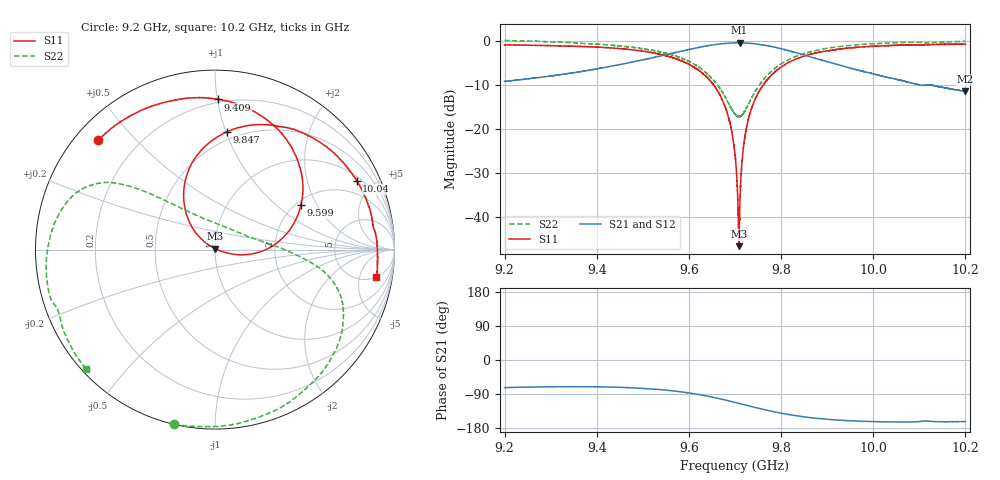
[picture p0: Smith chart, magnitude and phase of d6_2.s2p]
!Agilent Technologies,N5242A,MY51221714,A.09.90.19
!Agilent N5242A: A.09.90.19
!Date: Tuesday, March 26, 2024 16:18:59
!Correction: S11(Full 2 Port(1,2))
!S21(Full 2 Port(1,2))
!S12(Full 2 Port(1,2))
!S22(Full 2 Port(1,2))
!S2P File: Measurements: S11, S21, S12, S22:
# Hz S  dB  R 50
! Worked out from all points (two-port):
!   16001 points, 9.2 GHz to 10.2 GHz, reference 50 ohm
!   highest |S21| = -0.52 dB at 9.71 GHz (marker M1); lowest = -11.5 dB at 10.2 GHz (marker M2)
!   |S21| within 3 dB of the highest: 9.537335 GHz to 9.53746 GHz (125.2 kHz wide, 0.00131 % of centre); 9.538 GHz to 9.858 GHz (320.8 MHz wide, 3.31 % of centre)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
!   lowest |S11| = -46.5 dB at 9.709 GHz (marker M3), VSWR 1.01, Z = 50.1 + j0.455 ohm
!   |S11| at or under -10 dB: 9.653 GHz to 9.761 GHz (108.3 MHz wide, 1.12 % of centre); 9.761615 GHz to 9.761635 GHz (19.49 kHz wide, 0.0002 % of centre)
!   |S22| runs from -17.3 to 0.0 dB; largest |S21 - S12| = 0.012
!   S11 on the Smith chart (normalised r, x): 9.2 GHz: 0.07, +0.39; 9.409 GHz: 0.18, +1.00; 9.599 GHz: 2.13, +1.49; 9.847 GHz: 0.43, +1.01; 10.04 GHz: 1.21, +4.02; 10.2 GHz: 5, -9
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9.2e9  -0.99 136.9  -9.23 -73.0  -9.21 -73.7  0.00 -103.1
9.366688e9  -1.34 99.5  -7.01 -70.4  -6.99 -71.1  -0.63 -58.7
9.409188e9  -1.55 88.9  -6.26 -70.9  -6.24 -71.6  -0.88 -48.1
9.533375e9  -3.04 52.2  -3.63 -77.7  -3.61 -78.3  -2.46 -20.9
9.599375e9  -5.35 27.4  -2.06 -86.8  -2.04 -87.3  -4.70 -9.7
9.66875e9  -12.63 -4.3  -0.77 -102.7  -0.76 -103.3  -11.08 8.3
9.688688e9  -18.49 -13.2  -0.58 -108.5  -0.57 -109.0  -14.75 26.5
9.7e9  -25.74 -16.0  -0.54 -111.9  -0.52 -112.5  -16.62 47.7
9.705125e9  -33.48 -9.6  -0.52 -113.5  -0.51 -114.1  -17.15 60.3
9.7085e9  -46.51 73.6  -0.53 -114.5  -0.51 -115.1  -17.20 68.8
9.71e9  -39.07 125.1  -0.52 -115.0  -0.52 -115.5  -17.13 72.9
9.716625e9  -25.85 143.4  -0.55 -117.1  -0.53 -117.7  -16.69 88.9
9.721875e9  -21.53 142.3  -0.57 -118.6  -0.54 -119.2  -15.79 100.4
9.743625e9  -13.27 132.1  -0.75 -125.3  -0.74 -125.8  -11.54 125.9
9.785625e9  -7.18 111.4  -1.50 -136.8  -1.51 -137.5  -6.38 139.3
9.847312e9  -3.62 84.3  -3.19 -149.5  -3.19 -150.1  -3.04 148.0
9.866688e9  -3.04 76.8  -3.78 -152.6  -3.78 -153.0  -2.47 150.6
9.934938e9  -1.82 53.9  -5.82 -159.4  -5.81 -159.9  -1.27 162.0
1.003338e10  -1.16 27.2  -8.39 -163.3  -8.37 -163.9  -0.55 -177.8
1.003869e10  -1.14 25.8  -8.51 -163.3  -8.51 -163.9  -0.53 -176.6
1.019969e10  -0.81 -9.6  -11.50 -162.4  -11.49 -163.0  -0.18 -137.4
1.02e10  -0.79 -9.7  -11.49 -162.6  -11.50 -163.0  -0.20 -137.3
